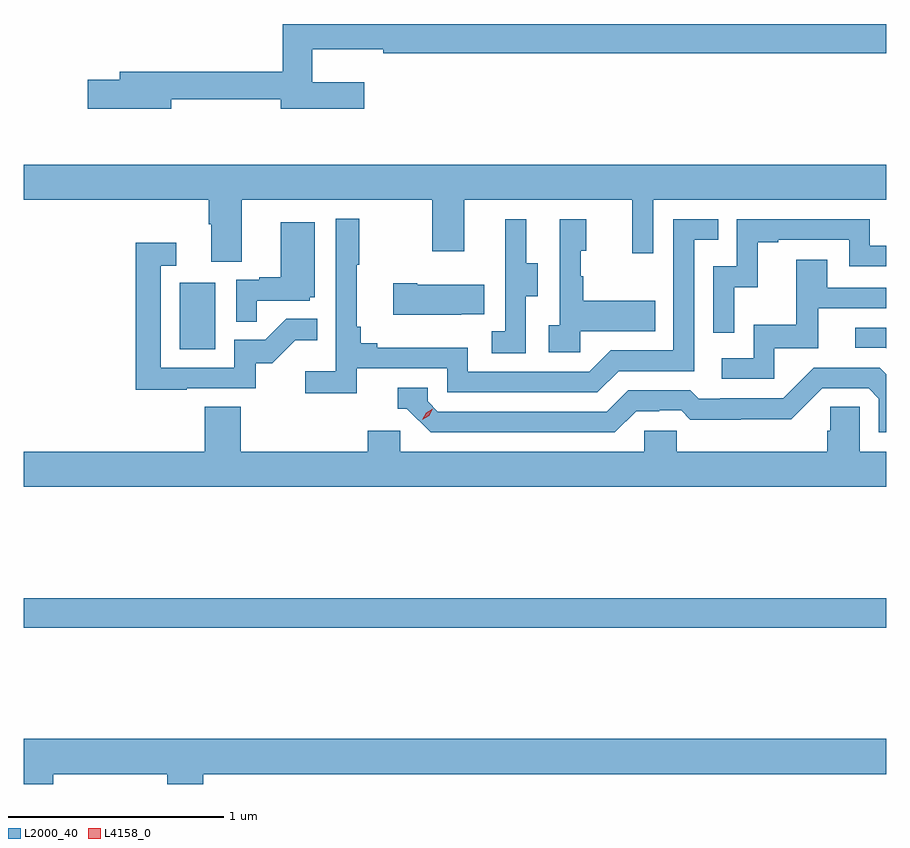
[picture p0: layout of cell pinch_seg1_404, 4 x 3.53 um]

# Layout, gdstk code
import gdstk
lib = gdstk.Library(unit=1e-6, precision=1e-09)
def R(c, l, rs):  # rectangles x0, y0, x1, y1
    for r in rs: c.add(gdstk.rectangle(r[:2], r[2:], *l))
def P(c, l, *ps):  # polygons
    for p in ps: c.add(gdstk.Polygon(p, *l))
L2000_40 = (2000, 40)
L4158_0 = (4158, 0)

pinch_seg1_404 = lib.new_cell('pinch_seg1_404')
R(pinch_seg1_404, L2000_40, [(923.837,527.104,927.837,527.24), (924.56,528.396,924.724,528.703)])
P(pinch_seg1_404, L2000_40, [(924.52,529.554),(925.028,529.554),(925.028,529.511),(925.417,529.511),(925.417,529.633),(925.175,529.633),(925.175,529.787),(925.504,529.787),(925.504,529.768),(927.837,529.768),(927.837,529.904),(925.039,529.904),(925.039,529.682),(924.281,529.682),(924.281,529.646),(924.132,529.646),(924.132,529.511),(924.52,529.511)],
  [(924.847,529.088),(925.732,529.088),(925.732,528.849),(925.879,528.849),(925.879,529.088),(926.66,529.088),(926.66,528.84),(926.757,528.84),(926.757,529.088),(927.837,529.088),(927.837,529.252),(923.837,529.252),(923.837,529.088),(924.695,529.088),(924.695,528.976),(924.707,528.976),(924.707,528.802),(924.847,528.802)],
  [(925.382,528.306),(925.8,528.306),(925.8,528.195),(926.497,528.195),(926.596,528.294),(926.946,528.294),(926.946,528.903),(927.059,528.903),(927.059,528.999),(926.85,528.999),(926.85,528.39),(926.559,528.39),(926.46,528.291),(925.896,528.291),(925.896,528.403),(925.477,528.403),(925.477,528.422),(925.4,528.422),(925.4,528.499),(925.381,528.499),(925.381,528.787),(925.393,528.787),(925.393,529),(925.284,529),(925.284,528.292),(925.143,528.292),(925.143,528.19),(925.382,528.19)],
  [(927.132,528.683),(927.242,528.683),(927.242,528.891),(927.337,528.891),(927.337,528.903),(927.666,528.903),(927.666,528.78),(927.837,528.78),(927.837,528.876),(927.762,528.876),(927.762,528.999),(927.144,528.999),(927.144,528.78),(927.036,528.78),(927.036,528.471),(927.132,528.471)],
  [(926.418,528.479),(926.765,528.479),(926.765,528.619),(926.431,528.619),(926.431,528.734),(926.421,528.734),(926.421,528.852),(926.446,528.852),(926.446,528.997),(926.322,528.997),(926.322,528.506),(926.271,528.506),(926.271,528.381),(926.418,528.381)],
  [(926.166,528.64),(926.221,528.64),(926.221,528.795),(926.167,528.795),(926.167,528.997),(926.069,528.997),(926.069,528.783),(926.07,528.783),(926.07,528.479),(926.007,528.479),(926.007,528.376),(926.166,528.376)],
  [(924.917,528.621),(925.164,528.621),(925.164,528.636),(925.186,528.636),(925.186,528.985),(925.028,528.985),(925.028,528.73),(924.929,528.73),(924.929,528.717),(924.822,528.717),(924.822,528.523),(924.917,528.523)],
  [(924.593,528.213),(924.912,528.213),(924.912,528.33),(924.988,528.33),(925.095,528.437),(925.199,528.437),(925.199,528.536),(925.055,528.536),(924.957,528.438),(924.813,528.438),(924.813,528.309),(924.471,528.309),(924.471,528.783),(924.544,528.783),(924.544,528.889),(924.355,528.889),(924.355,528.208),(924.593,528.208)],
  [(927.318,528.399),(927.523,528.399),(927.523,528.585),(927.837,528.585),(927.837,528.681),(927.565,528.681),(927.565,528.811),(927.421,528.811),(927.421,528.508),(927.222,528.508),(927.222,528.354),(927.075,528.354),(927.075,528.258),(927.318,528.258)],
  [(925.865,528.557),(925.973,528.557),(925.973,528.694),(925.663,528.694),(925.663,528.702),(925.551,528.702),(925.551,528.554),(925.865,528.554)],
  [(927.837,528.495),(927.693,528.495),(927.693,528.402),(927.834,528.402),(927.837,528.399)],
  [(926.677,528.108),(926.784,528.108),(926.784,528.111),(926.887,528.111),(926.929,528.069),(927.162,528.069),(927.162,528.071),(927.398,528.071),(927.54,528.213),(927.756,528.213),(927.804,528.165),(927.804,528.009),(927.837,528.009),(927.837,528.279),(927.807,528.309),(927.501,528.309),(927.36,528.168),(927.067,528.168),(927.067,528.165),(926.968,528.165),(926.929,528.204),(926.64,528.204),(926.541,528.105),(925.758,528.105),(925.71,528.153),(925.71,528.216),(925.571,528.216),(925.571,528.12),(925.614,528.12),(925.725,528.009),(926.578,528.009)],
  [(927.837,527.92),(927.714,527.92),(927.714,528.128),(927.577,528.128),(927.577,528.018),(927.563,528.018),(927.563,527.92),(926.865,527.92),(926.865,528.018),(926.715,528.018),(926.715,527.92),(925.584,527.92),(925.584,528.018),(925.433,528.018),(925.433,527.92),(924.842,527.92),(924.842,528.128),(924.677,528.128),(924.677,527.92),(923.837,527.92),(923.837,527.756),(927.837,527.756)],
  [(923.972,526.424),(924.503,526.424),(924.503,526.378),(924.668,526.378),(924.668,526.424),(927.837,526.424),(927.837,526.588),(923.837,526.588),(923.837,526.378),(923.972,526.378)])
P(pinch_seg1_404, L4158_0, [(925.686,528.067),(925.686,528.068),(925.703,528.1),(925.734,528.119),(925.734,528.119),(925.734,528.119),(925.717,528.086),(925.686,528.067)])

lib.write_gds('pinch_seg1_404.gds')
